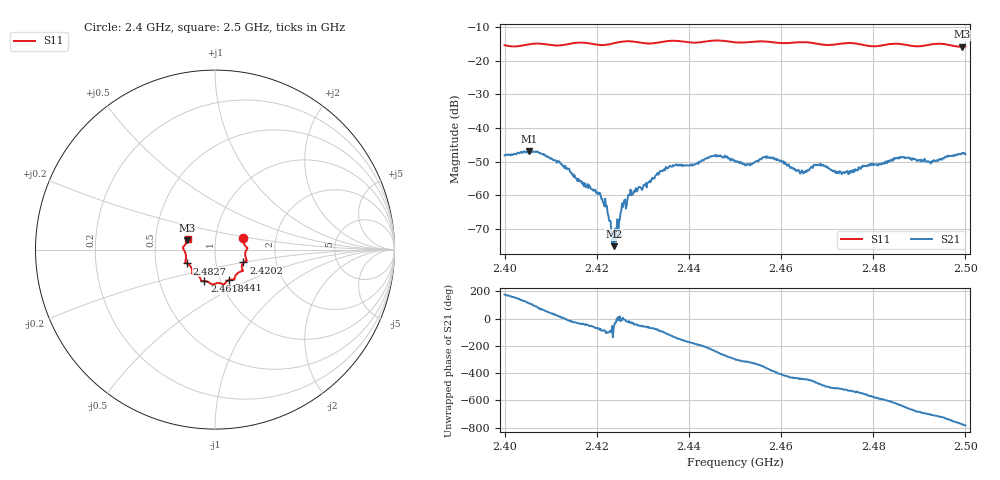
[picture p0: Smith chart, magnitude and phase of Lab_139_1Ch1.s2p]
# Hz S RI R 50
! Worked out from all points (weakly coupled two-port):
!   601 points, 2.4 GHz to 2.5 GHz, reference 50 ohm
!   highest |S21| = -46.80 dB at 2.4053 GHz (marker M1); lowest = -75.2 dB at 2.4237 GHz (marker M2)
!   lowest |S11| = -15.8 dB at 2.4993 GHz (marker M3), VSWR 1.39, Z = 36.5 + j3.85 ohm
!   |S11| at or under -10 dB: start of sweep to end of sweep
!   S12 and S22 are empty: the file has one direction only
!   S11 on the Smith chart (normalised r, x): 2.4 GHz: 1.36, +0.18; 2.4202 GHz: 1.36, -0.20; 2.441 GHz: 1.10, -0.39; 2.4618 GHz: 0.84, -0.30; 2.4827 GHz: 0.72, -0.11; 2.5 GHz: 0.73, +0.09
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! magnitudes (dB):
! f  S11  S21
! 2.4 GHz  -15.4  -48.2
! 2.4053 GHz  -15.0  -46.8
! 2.412 GHz  -15.4  -50.3
! 2.4167 GHz  -14.5  -55.9
! 2.4202 GHz  -15.2  -59.7
! 2.422 GHz  -15.2  -63.5
! 2.4237 GHz  -14.8  -75.2
! 2.4257 GHz  -14.2  -63.6
! 2.4272 GHz  -14.2  -60.0
! 2.4333 GHz  -14.5  -53.9
! 2.441 GHz  -14.6  -51.1
! 2.4453 GHz  -14.0  -48.2
! 2.45 GHz  -14.4  -50.0
! 2.4572 GHz  -14.3  -48.7
! 2.4618 GHz  -14.7  -51.5
! 2.4645 GHz  -14.4  -52.6
! 2.4667 GHz  -14.6  -51.5
! 2.475 GHz  -14.7  -53.4
! 2.4827 GHz  -15.2  -49.9
! 2.4833 GHz  -15.0  -50.1
! 2.4993 GHz  -15.8  -47.6
! 2.5 GHz  -15.7  -47.8
